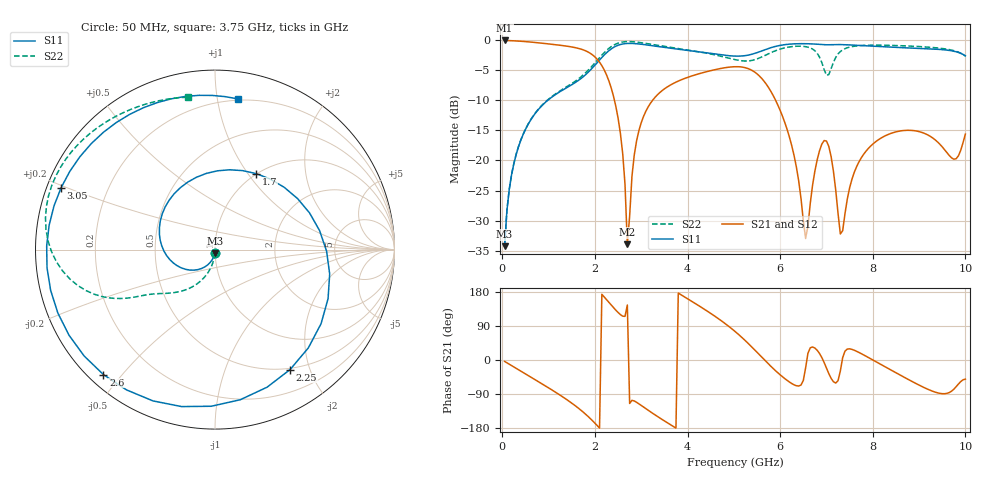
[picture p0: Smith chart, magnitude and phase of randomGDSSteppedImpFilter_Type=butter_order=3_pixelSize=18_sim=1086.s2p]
! freq	dB(S11)	phase(S11)	dB(S12)	phase(S12)
!  dB(S21)	phase(S21)	dB(S22)	phase(S22)
!S-par simulation data
#  GHz  S  DB  R 50
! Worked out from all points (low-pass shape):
!   200 points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, 50 MHz to 10 GHz, reference 50 ohm
!   highest |S21| = -0.01 dB at 50 MHz (marker M1); lowest = -34.0 dB at 2.7 GHz (marker M2)
!   |S21| within 3 dB of the highest: start of sweep to 2.033 GHz
!   lowest |S11| = -34.3 dB at 50 MHz (marker M3), VSWR 1.04, Z = 49.8 - j1.92 ohm
!   |S11| at or under -10 dB: start of sweep to 978.1 MHz
!   |S22| runs from -34.2 to -0.2 dB; largest |S21 - S12| = 0
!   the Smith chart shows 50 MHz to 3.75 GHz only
!   S11 on the Smith chart (normalised r, x): 50 MHz: 1.00, -0.04; 1.7 GHz: 0.99, +1.10; 2.25 GHz: 0.48, -1.70; 2.6 GHz: 0.04, -0.45; 3.05 GHz: 0.04, +0.19; 3.75 GHz: 0.19, +1.15
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0.05  -34.27 -94.5  -0.01 -3.7  -0.01 -3.7  -34.25 -91.8
0.45  -15.67 -135.9  -0.17 -33.1  -0.17 -33.1  -15.62 -111.1
1.7  -6.34 61.5  -1.45 -132.7  -1.45 -132.7  -6.07 -148.5
1.75  -6.03 51.9  -1.58 -137.8  -1.58 -137.8  -5.74 -149.3
2.25  -2.07 -57.9  -5.73 159.3  -5.73 159.3  -1.68 -168.5
2.6  -0.60 -131.7  -18.85 115.6  -18.85 115.6  -0.27 165.7
2.7  -0.51 -149.7  -33.98 145.1  -33.98 145.1  -0.20 158.6
3.05  -0.68 158.1  -12.66 -124.2  -12.66 -124.2  -0.44 137.1
3.4  -1.06 116.8  -8.70 -152.9  -8.70 -152.9  -0.87 118.5
3.75  -1.42 81.3  -6.95 -179.7  -6.95 -179.7  -1.28 100.1
5.05  -2.62 -18.3  -4.38 72.9  -4.38 72.9  -3.24 -14.2
5.5  -2.04 -41.7  -5.57 20.4  -5.57 20.4  -3.09 -100.7
5.95  -0.91 -70.5  -10.77 -33.8  -10.77 -33.8  -1.57 172.5
6.55  -0.55 -111.1  -33.00 -20.5  -33.00 -20.5  -1.04 82.6
6.7  -0.59 -120.8  -24.12 34.4  -24.12 34.4  -1.44 54.3
7  -0.73 -139.0  -16.76 -21.2  -16.76 -21.2  -5.80 -84.3
7.15  -0.69 -148.2  -21.76 -57.3  -21.76 -57.3  -3.66 167.9
7.3  -0.69 -157.9  -32.24 -28.8  -32.24 -28.8  -1.86 118.4
7.5  -0.75 -170.9  -24.56 29.4  -24.56 29.4  -1.12 83.6
8.35  -1.10 130.3  -15.61 -23.5  -15.61 -23.5  -0.82 5.0
9.3  -1.43 56.8  -16.28 -82.8  -16.28 -82.8  -1.19 -67.2
10  -2.57 -1.8  -15.60 -50.5  -15.60 -50.5  -2.62 -131.8
